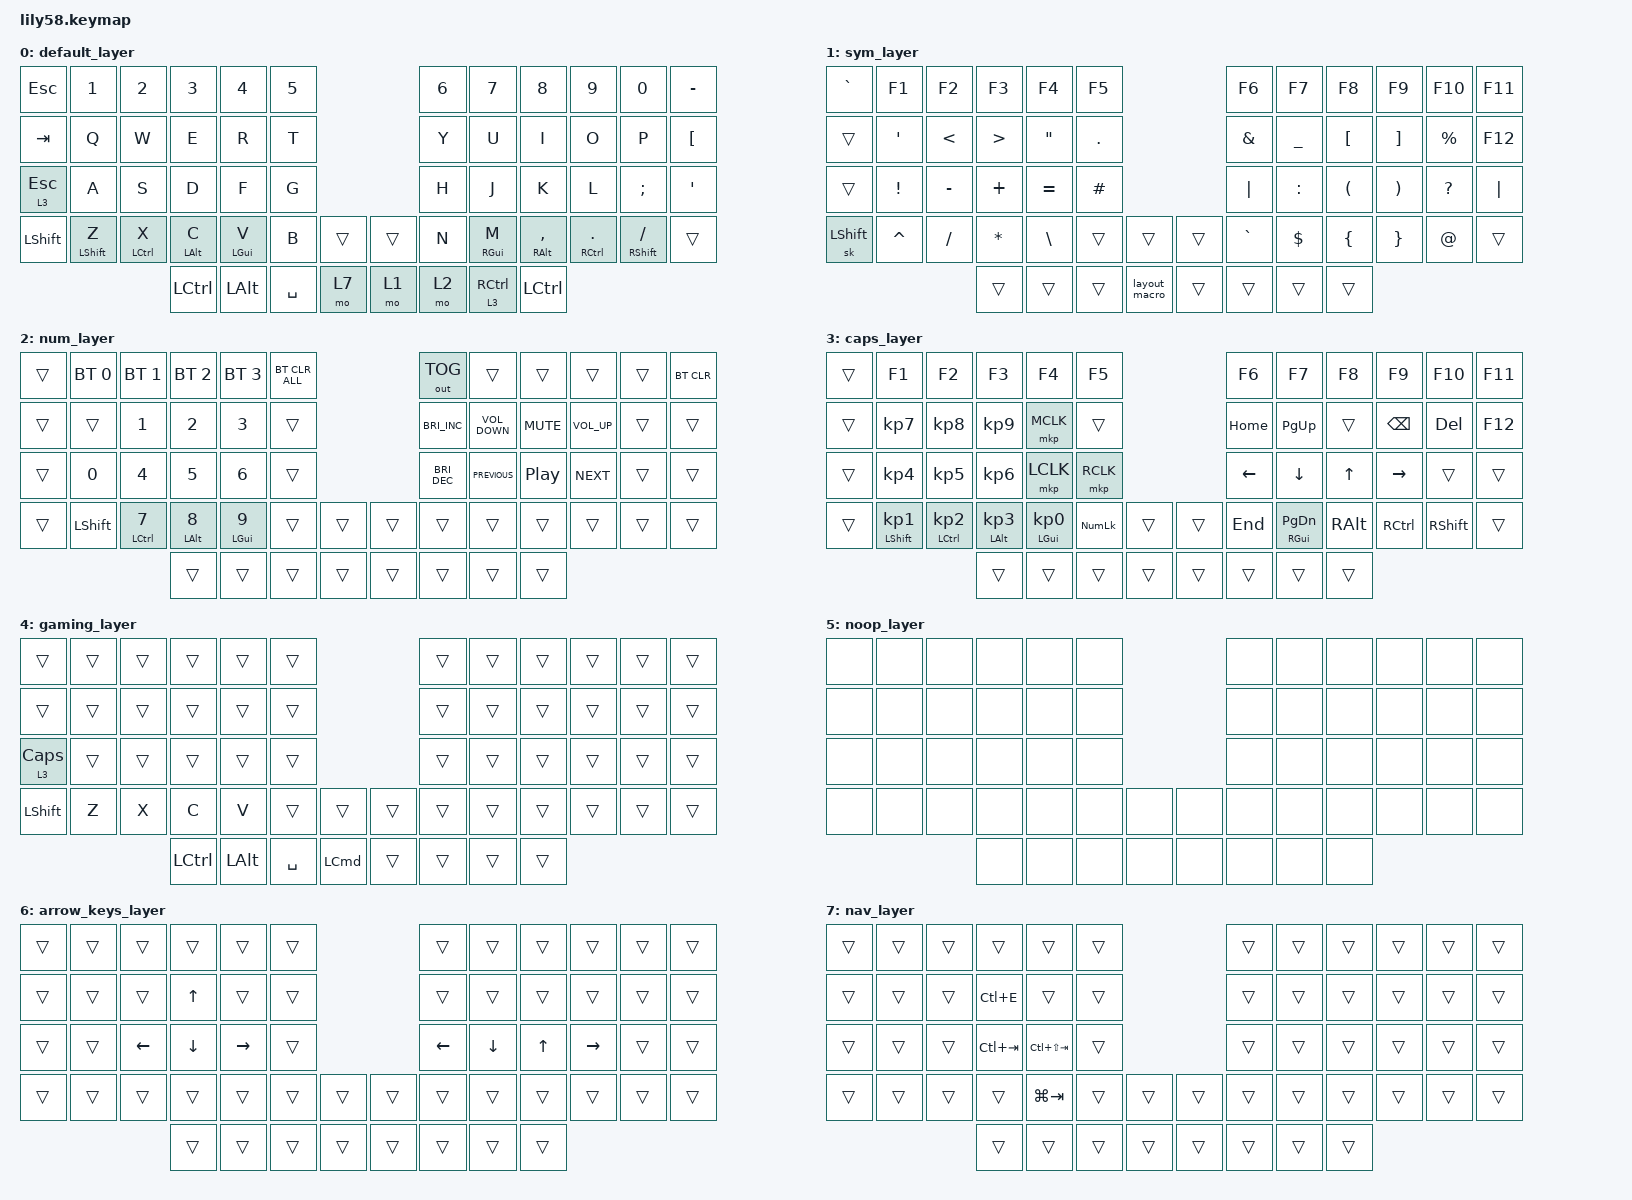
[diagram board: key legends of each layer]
/*
 * Copyright (c) 2020 The ZMK Contributors
 *
 * SPDX-License-Identifier: MIT
 */

#include <behaviors.dtsi>
#include <dt-bindings/zmk/bt.h>
#include <dt-bindings/zmk/keys.h>
#include <dt-bindings/zmk/mouse.h>
#include <dt-bindings/zmk/outputs.h>

&lt { tapping-term-ms = <150>; };

&sk { quick-release; };

&sl {
};

/ {
    combos {
        compatible = "zmk,combos";

        command_space {
            bindings = <&kp LG(SPACE)>;
            key-positions = <28 27>;
            timeout-ms = <30>;
            layers = <0>;
            require-prior-idle-ms = <70>;
        };

        sticky_shift {
            bindings = <&sk LEFT_SHIFT>;
            key-positions = <31 32>;
            require-prior-idle-ms = <40>;
            timeout-ms = <35>;
            layers = <0>;
        };

        caps_word {
            bindings = <&caps_word>;
            key-positions = <33 32 31>;
            timeout-ms = <35>;
            require-prior-idle-ms = <55>;
            layers = <0>;
        };

        backspace {
            bindings = <&kp BACKSPACE>;
            key-positions = <20 19>;
            timeout-ms = <50>;
            require-prior-idle-ms = <60>;
        };

        enter {
            bindings = <&kp ENTER>;
            key-positions = <45 46>;
            timeout-ms = <20>;
            require-prior-idle-ms = <50>;
        };

        escape_disabled {
            bindings = <&trans>;
            key-positions = <14 15 16 17>;
            timeout-ms = <50>;
            require-prior-idle-ms = <570>;
            layers = <0 1 2 3 6>;
        };

        delete_word_mac {
            bindings = <&kp LA(BACKSPACE)>;
            key-positions = <20 19 21>;
            timeout-ms = <50>;
            require-prior-idle-ms = <50>;
            layers = <0 1 2 3>;
        };

        gaming__enter {
            bindings = <&kp ENTER>;
            key-positions = <40 39>;
            timeout-ms = <45>;
            require-prior-idle-ms = <40>;
            layers = <4>;
        };

        gaming_layer_set {
            bindings = <&to 4>;
            key-positions = <2 3 4>;
            timeout-ms = <30>;
            require-prior-idle-ms = <200>;
            layers = <0>;
        };

        default_layer_set {
            bindings = <&to 0>;
            key-positions = <2 1 3>;
            timeout-ms = <35>;
            require-prior-idle-ms = <200>;
            layers = <4>;
        };

        tab {
            bindings = <&kp TAB>;
            key-positions = <26 27>;
            timeout-ms = <30>;
            require-prior-idle-ms = <70>;
            layers = <0>;
        };

        noop1 {
            bindings = <&mo 5>;
            key-positions = <27 26 25>;
            timeout-ms = <50>;
            require-prior-idle-ms = <200>;
            layers = <0>;
        };

        noop2 {
            bindings = <&mo 5>;
            key-positions = <32 33 34>;
            timeout-ms = <50>;
            require-prior-idle-ms = <200>;
            layers = <0>;
        };

        copy {
            bindings = <&kp LG(C)>;
            key-positions = <38 39>;
            timeout-ms = <25>;
            require-prior-idle-ms = <80>;
            layers = <0 3>;
        };

        paste {
            bindings = <&kp LG(V)>;
            key-positions = <39 40>;
            timeout-ms = <20>;
            require-prior-idle-ms = <70>;
            layers = <0 3>;
        };

        lang_change_windows {
            bindings = <&kp LA(LEFT_SHIFT)>;
            key-positions = <32 33>;
            timeout-ms = <30>;
            require-prior-idle-ms = <80>;
            layers = <4>;
        };

        lang_change_mac {
            bindings = <&kp LC(SPACE)>;
            key-positions = <32 33>;
            timeout-ms = <20>;
            require-prior-idle-ms = <70>;
            layers = <0>;
        };
    };

    macros {
        layout_macro: layout_macro {
            compatible = "zmk,behavior-macro";
            #binding-cells = <0>;
            bindings =
                <&macro_tap>,
                <&kp LC(SPACE)>,
                <&macro_pause_for_release>,
                <&macro_tap>,
                <&kp LC(SPACE)>;

            label = "LAYOUT_MACRO";
            wait-ms = <5>;
            tap-ms = <5>;
        };

        layout_layer_macro: layout_layer_macro {
            compatible = "zmk,behavior-macro";
            #binding-cells = <0>;
            bindings =
                <&macro_tap>,
                <&kp LC(SPACE) &sl 1>,
                <&macro_wait_time 500>,
                <&macro_pause_for_release>,
                <&macro_tap>,
                <&kp LC(SPACE)>;

            label = "LAYOUT_LAYER_MACRO";
            wait-ms = <5>;
            tap-ms = <5>;
        };
    };

    behaviors {
        hold_tap_mod_sticky: hold_tap_mod_sticky {
            compatible = "zmk,behavior-hold-tap";
            label = "HOLD_TAP_MOD_STICKY";
            bindings = <&kp>, <&sk>;

            #binding-cells = <2>;
            tapping-term-ms = <150>;
            hold-while-undecided;
            hold-while-undecided-linger;
        };

        homerow_mod_left: homerow_mod_left {
            compatible = "zmk,behavior-hold-tap";
            label = "HOMEROW_MOD_LEFT";
            bindings = <&kp>, <&kp>;

            #binding-cells = <2>;
            tapping-term-ms = <100>;
            flavor = "hold-preferred";
            retro-tap;
            hold-trigger-key-positions = <0 1 2 3 4 5 6 7 8 9 10 11 12 13 14 15 16 17 18 19 20 21 22 23 24 25 26 27 28 29 30 31 32 33 34 35 36 37 38 39 40 41 42 43 44 45 46 47 48 49 50 51 53 55 56 57 54>;
            hold-trigger-on-release;
        };

        homerow_mod_right: homerow_mod_right {
            compatible = "zmk,behavior-hold-tap";
            label = "HOMEROW_MOD_RIGHT";
            bindings = <&kp>, <&kp>;

            #binding-cells = <2>;
            tapping-term-ms = <100>;
            flavor = "hold-preferred";
            retro-tap;
            hold-trigger-key-positions = <0 1 2 3 4 5 6 7 8 9 10 11 12 13 14 15 16 17 18 19 20 21 22 23 24 25 26 27 28 29 30 31 32 33 34 35 36 37 38 39 40 41 42 43 44 45 46 47 48 49 50 51 53 54 55 56 57>;
            hold-trigger-on-release;
        };

        homerow_mod_caps: homerow_mod_caps {
            compatible = "zmk,behavior-hold-tap";
            label = "HOMEROW_MOD_CAPS";
            bindings = <&lt>, <&kp>;

            #binding-cells = <2>;
            tapping-term-ms = <120>;
            quick-tap-ms = <200>;
            flavor = "tap-unless-interrupted";
            hold-trigger-on-release;
            hold-trigger-key-positions = <13 14 15 16 17 25 26 27 28 29 37 38 39 40 41>;
        };

        hold_tap: hold_tap {
            compatible = "zmk,behavior-hold-tap";
            label = "HOLD_TAP";
            bindings = <&kp>, <&kp>;

            #binding-cells = <2>;
            tapping-term-ms = <130>;
            flavor = "tap-preferred";
        };

        lt_spc: lt_spc {
            compatible = "zmk,behavior-hold-tap";
            label = "LT_SPC";
            bindings = <&mo>, <&kp>;

            #binding-cells = <2>;
            tapping-term-ms = <150>;
            flavor = "balanced";
            quick-tap-ms = <175>;
            require-prior-idle-ms = <180>;
        };

        hml: hml {
            compatible = "zmk,behavior-hold-tap";
            label = "HML";
            bindings = <&kp>, <&kp>;

            #binding-cells = <2>;
            tapping-term-ms = <220>;
            flavor = "balanced";
            quick-tap-ms = <175>;
            require-prior-idle-ms = <100>;
            hold-trigger-key-positions = <18 19 20 21 22 30 31 32 33 34 44 45 46 47 48 23 35 49 1 2 3 4 5 12>;
            hold-trigger-on-release;
        };

        hmr: hmr {
            compatible = "zmk,behavior-hold-tap";
            label = "HMR";
            bindings = <&kp>, <&kp>;

            #binding-cells = <2>;
            tapping-term-ms = <220>;
            flavor = "balanced";
            quick-tap-ms = <175>;
            require-prior-idle-ms = <110>;
            hold-trigger-key-positions = <13 14 15 16 17 25 26 27 28 29 37 38 39 40 41 12 24 36>;
            hold-trigger-on-release;
        };

        hml_raise: hml_raise {
            compatible = "zmk,behavior-hold-tap";
            label = "HML_RAISE";
            bindings = <&kp>, <&kp>;

            #binding-cells = <2>;
            tapping-term-ms = <220>;
            flavor = "hold-preferred";
            quick-tap-ms = <175>;
            require-prior-idle-ms = <160>;
            hold-trigger-key-positions = <18 19 20 21 22 30 31 32 33 34 44 45 46 47 48 25>;
        };

        hmr_raise: hmr_raise {
            compatible = "zmk,behavior-hold-tap";
            label = "HMR_RAISE";
            bindings = <&kp>, <&kp>;

            #binding-cells = <2>;
            tapping-term-ms = <220>;
            flavor = "hold-preferred";
            quick-tap-ms = <175>;
            require-prior-idle-ms = <160>;
            hold-trigger-key-positions = <13 14 15 16 17 25 26 27 28 29 37 38 39 40 41 34>;
        };

        htl: htl {
            compatible = "zmk,behavior-hold-tap";
            label = "HTL";
            bindings = <&mo>, <&kp>;

            #binding-cells = <2>;
            tapping-term-ms = <130>;
            flavor = "balanced";
            quick-tap-ms = <175>;
            require-prior-idle-ms = <70>;
            hold-trigger-key-positions = <30 31 32 33>;
            hold-trigger-on-release;
        };

        htr: htr {
            compatible = "zmk,behavior-hold-tap";
            label = "HTR";
            bindings = <&mo>, <&kp>;

            #binding-cells = <2>;
            tapping-term-ms = <130>;
            flavor = "balanced";
            quick-tap-ms = <175>;
            require-prior-idle-ms = <70>;
            hold-trigger-key-positions = <29 28 27 26>;
            hold-trigger-on-release;
        };
    };

    keymap {
        compatible = "zmk,keymap";

        default_layer {
            bindings = <
&kp ESCAPE      &kp N1             &kp N2        &kp N3            &kp N4           &kp N5                       &kp N6  &kp N7            &kp N8                &kp N9          &kp N0                  &kp MINUS
&kp TAB         &kp Q              &kp W         &kp E             &kp R            &kp T                        &kp Y   &kp U             &kp I                 &kp O           &kp P                   &kp LBKT
&lt 3 ESC       &kp A              &kp S         &kp D             &kp F            &kp G                        &kp H   &kp J             &kp K                 &kp L           &kp SEMI                &kp SQT
&kp LEFT_SHIFT  &hml LEFT_SHIFT Z  &hml LCTRL X  &hml LEFT_ALT C   &hml LEFT_GUI V  &kp B      &trans    &trans  &kp N   &hmr RIGHT_GUI M  &hmr RIGHT_ALT COMMA  &hmr RCTRL DOT  &hmr RIGHT_SHIFT SLASH  &trans
                                                 &kp LEFT_CONTROL  &kp LEFT_ALT     &kp SPACE  &mo 7     &mo 1   &mo 2   &lt 3 RCTRL       &kp LCTRL
            >;
        };

        sym_layer {
            bindings = <
&kp GRAVE       &kp F1           &kp F2         &kp F3            &kp F4             &kp F5                             &kp F6         &kp F7          &kp F8                &kp F9                 &kp F10       &kp F11
&trans          &kp SQT          &kp LESS_THAN  &kp GREATER_THAN  &kp DOUBLE_QUOTES  &kp DOT                            &kp AMPERSAND  &kp UNDERSCORE  &kp LBKT              &kp RBKT               &kp PERCENT   &kp F12
&trans          &kp EXCLAMATION  &kp MINUS      &kp PLUS          &kp EQUAL          &kp HASH                           &kp PIPE       &kp COLON       &kp LEFT_PARENTHESIS  &kp RIGHT_PARENTHESIS  &kp QUESTION  &kp PIPE
&sk LEFT_SHIFT  &kp CARET        &kp FSLH       &kp ASTERISK      &kp BSLH           &trans    &trans           &trans  &kp GRAVE      &kp DOLLAR      &kp LEFT_BRACE        &kp RIGHT_BRACE        &kp AT_SIGN   &trans
                                                &trans            &trans             &trans    &layout_macro    &trans  &trans         &trans          &trans
            >;
        };

        num_layer {
            bindings = <
&trans  &bt BT_SEL 0    &bt BT_SEL 1          &bt BT_SEL 2      &bt BT_SEL 3      &bt BT_CLR_ALL                    &out OUT_TOG          &trans             &trans            &trans           &trans  &bt BT_CLR
&trans  &trans          &kp N1                &kp N2            &kp N3            &trans                            &kp C_BRIGHTNESS_INC  &kp C_VOLUME_DOWN  &kp K_MUTE        &kp C_VOLUME_UP  &trans  &trans
&trans  &kp NUMBER_0    &kp N4                &kp N5            &kp N6            &trans                            &kp C_BRIGHTNESS_DEC  &kp C_PREVIOUS     &kp C_PLAY_PAUSE  &kp C_NEXT       &trans  &trans
&trans  &kp LEFT_SHIFT  &hml LEFT_CONTROL N7  &hml LEFT_ALT N8  &hml LEFT_GUI N9  &trans          &trans    &trans  &trans                &trans             &trans            &trans           &trans  &trans
                                              &trans            &trans            &trans          &trans    &trans  &trans                &trans             &trans
            >;
        };

        caps_layer {
            bindings = <
&trans  &kp F1                       &kp F2                  &kp F3                     &kp F4                     &kp F5                        &kp F6    &kp F7                    &kp F8         &kp F9         &kp F10     &kp F11
&trans  &kp KP_NUMBER_7              &kp KP_NUMBER_8         &kp KP_NUMBER_9            &mkp MCLK                  &trans                        &kp HOME  &kp PG_UP                 &trans         &kp BACKSPACE  &kp DELETE  &kp F12
&trans  &kp KP_NUMBER_4              &kp KP_N5               &kp KP_NUMBER_6            &mkp LCLK                  &mkp RCLK                     &kp LEFT  &kp DOWN                  &kp UP         &kp RIGHT      &trans      &trans
&trans  &hml LEFT_SHIFT KP_NUMBER_1  &hml LCTRL KP_NUMBER_2  &hml LEFT_ALT KP_NUMBER_3  &hml LEFT_GUI KP_NUMBER_0  &kp KP_NUM  &trans    &trans  &kp END   &hmr RIGHT_GUI PAGE_DOWN  &kp RIGHT_ALT  &kp RCTRL      &kp RSHFT   &trans
                                                             &trans                     &trans                     &trans      &trans    &trans  &trans    &trans                    &trans
            >;
        };

        gaming_layer {
            bindings = <
&trans          &trans  &trans  &trans     &trans        &trans                                 &trans  &trans  &trans  &trans  &trans  &trans
&trans          &trans  &trans  &trans     &trans        &trans                                 &trans  &trans  &trans  &trans  &trans  &trans
&lt 3 CAPSLOCK  &trans  &trans  &trans     &trans        &trans                                 &trans  &trans  &trans  &trans  &trans  &trans
&kp LEFT_SHIFT  &kp Z   &kp X   &kp C      &kp V         &trans     &trans              &trans  &trans  &trans  &trans  &trans  &trans  &trans
                                &kp LCTRL  &kp LEFT_ALT  &kp SPACE  &kp LEFT_COMMAND    &trans  &trans  &trans  &trans
            >;
        };

        noop_layer {
            bindings = <
&none  &none  &none  &none  &none  &none                  &none  &none  &none  &none  &none  &none
&none  &none  &none  &none  &none  &none                  &none  &none  &none  &none  &none  &none
&none  &none  &none  &none  &none  &none                  &none  &none  &none  &none  &none  &none
&none  &none  &none  &none  &none  &none  &none    &none  &none  &none  &none  &none  &none  &none
                     &none  &none  &none  &none    &none  &none  &none  &none
            >;
        };

        arrow_keys_layer {
            bindings = <
&trans  &trans  &trans    &trans    &trans     &trans                    &trans    &trans    &trans  &trans     &trans  &trans
&trans  &trans  &trans    &kp UP    &trans     &trans                    &trans    &trans    &trans  &trans     &trans  &trans
&trans  &trans  &kp LEFT  &kp DOWN  &kp RIGHT  &trans                    &kp LEFT  &kp DOWN  &kp UP  &kp RIGHT  &trans  &trans
&trans  &trans  &trans    &trans    &trans     &trans  &trans    &trans  &trans    &trans    &trans  &trans     &trans  &trans
                          &trans    &trans     &trans  &trans    &trans  &trans    &trans    &trans
            >;
        };

        nav_layer {
            bindings = <
&trans  &trans  &trans  &trans       &trans           &trans                    &trans  &trans  &trans  &trans  &trans  &trans
&trans  &trans  &trans  &kp LC(E)    &trans           &trans                    &trans  &trans  &trans  &trans  &trans  &trans
&trans  &trans  &trans  &kp LC(TAB)  &kp LC(LS(TAB))  &trans                    &trans  &trans  &trans  &trans  &trans  &trans
&trans  &trans  &trans  &trans       &kp LG(TAB)      &trans  &trans    &trans  &trans  &trans  &trans  &trans  &trans  &trans
                        &trans       &trans           &trans  &trans    &trans  &trans  &trans  &trans
            >;
        };
    };
};
